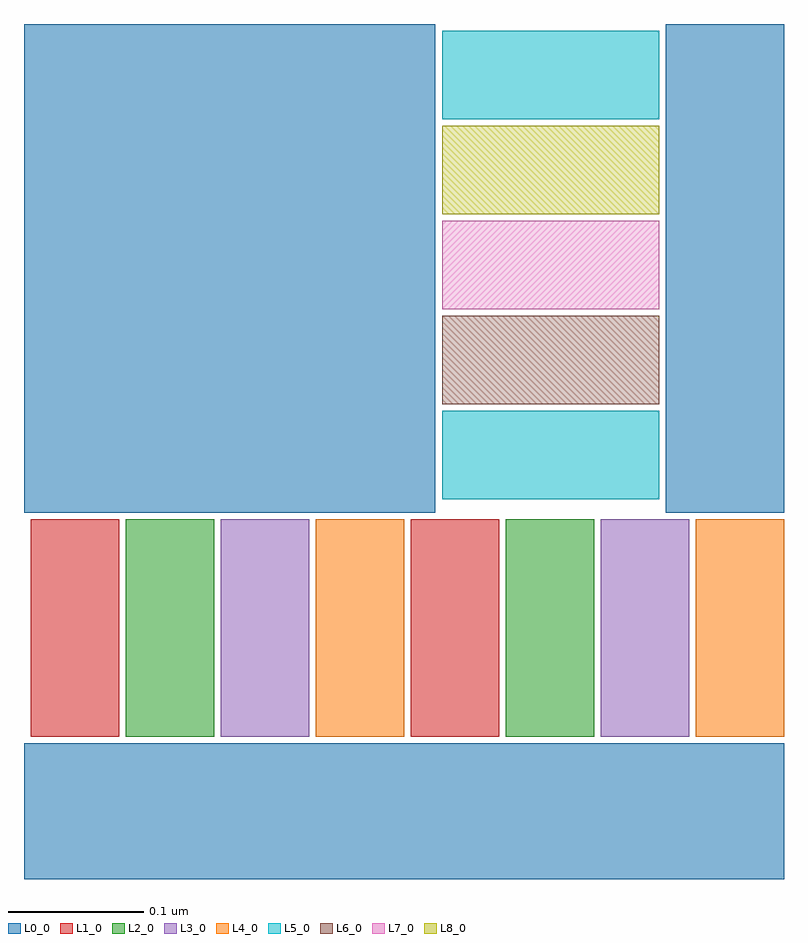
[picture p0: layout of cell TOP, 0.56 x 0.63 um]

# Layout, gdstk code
import gdstk
lib = gdstk.Library(unit=1e-6, precision=1e-09)
def R(c, l, rs):  # rectangles x0, y0, x1, y1
    for r in rs: c.add(gdstk.rectangle(r[:2], r[2:], *l))
L0_0 = (0, 0)
L1_0 = (1, 0)
L2_0 = (2, 0)
L3_0 = (3, 0)
L4_0 = (4, 0)
L5_0 = (5, 0)
L6_0 = (6, 0)
L7_0 = (7, 0)
L8_0 = (8, 0)

top = lib.new_cell('TOP')
R(top, L0_0, [(0,0,0.56,0.1), (0,0.27,0.303,0.63), (0.473,0.27,0.56,0.63)])
R(top, L1_0, [(0.005,0.105,0.07,0.265), (0.285,0.105,0.35,0.265)])
R(top, L2_0, [(0.075,0.105,0.14,0.265), (0.355,0.105,0.42,0.265)])
R(top, L3_0, [(0.145,0.105,0.21,0.265), (0.425,0.105,0.49,0.265)])
R(top, L4_0, [(0.215,0.105,0.28,0.265), (0.495,0.105,0.56,0.265)])
R(top, L5_0, [(0.308,0.28,0.468,0.345), (0.308,0.56,0.468,0.625)])
R(top, L6_0, [(0.308,0.35,0.468,0.415)])
R(top, L7_0, [(0.308,0.42,0.468,0.485)])
R(top, L8_0, [(0.308,0.49,0.468,0.555)])

lib.write_gds('TOP.gds')
